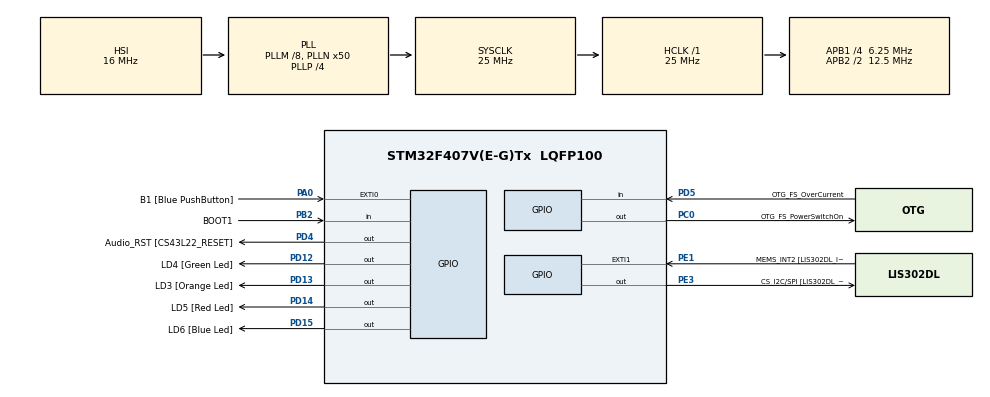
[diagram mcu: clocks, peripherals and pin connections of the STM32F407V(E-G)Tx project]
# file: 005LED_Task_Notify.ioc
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Mcu.Family=STM32F4
Mcu.Name=STM32F407V(E-G)Tx
Mcu.Package=LQFP100
NVIC.PriorityGroup=NVIC_PRIORITYGROUP_0
PA0-WKUP.GPIO_Label=B1 [Blue PushButton]
PA0-WKUP.Signal=GPXTI0
PA10.GPIO_Label=OTG_FS_ID
PA10.GPIO_Mode=GPIO_MODE_AF_PP
PA10.GPIO_PuPd=GPIO_NOPULL
PA10.GPIO_Speed=GPIO_SPEED_FREQ_LOW
PA10.Signal=USB_OTG_FS_ID
PA11.GPIO_Label=OTG_FS_DM
PA11.GPIO_Mode=GPIO_MODE_AF_PP
PA11.GPIO_PuPd=GPIO_NOPULL
PA11.GPIO_Speed=GPIO_SPEED_FREQ_LOW
PA11.Signal=USB_OTG_FS_DM
PA12.GPIO_Label=OTG_FS_DP
PA12.GPIO_Mode=GPIO_MODE_AF_PP
PA12.GPIO_PuPd=GPIO_NOPULL
PA12.GPIO_Speed=GPIO_SPEED_FREQ_LOW
PA12.Signal=USB_OTG_FS_DP
PA13.GPIO_Label=SWDIO
PA13.Signal=SYS_JTMS-SWDIO
PA14.GPIO_Label=SWCLK
PA14.Signal=SYS_JTCK-SWCLK
PA4.GPIO_Label=I2S3_WS [CS43L22_LRCK]
PA4.GPIO_Mode=GPIO_MODE_AF_PP
PA4.GPIO_PuPd=GPIO_NOPULL
PA4.GPIO_Speed=GPIO_SPEED_FREQ_LOW
PA4.Signal=I2S3_WS
PA5.GPIO_Label=SPI1_SCK [LIS302DL_SCL/SPC]
PA5.GPIO_Mode=GPIO_MODE_AF_PP
PA5.GPIO_PuPd=GPIO_NOPULL
PA5.GPIO_Speed=GPIO_SPEED_FREQ_LOW
PA5.Signal=SPI1_SCK
PA6.GPIO_Label=SPI1_MISO [LIS302DL_SDO]
PA6.GPIO_Mode=GPIO_MODE_AF_PP
PA6.GPIO_PuPd=GPIO_NOPULL
PA6.GPIO_Speed=GPIO_SPEED_FREQ_LOW
PA6.Signal=SPI1_MISO
PA7.GPIO_Label=SPI1_MOSI [LIS302DL_SDA/SDI/SDO]
PA7.GPIO_Mode=GPIO_MODE_AF_PP
PA7.GPIO_PuPd=GPIO_NOPULL
PA7.GPIO_Speed=GPIO_SPEED_FREQ_LOW
PA7.Signal=SPI1_MOSI
PA9.GPIO_Label=VBUS_FS
PA9.GPIO_Mode=GPIO_MODE_INPUT
PA9.GPIO_PuPd=GPIO_NOPULL
PA9.Signal=USB_OTG_FS_VBUS
PB10.GPIO_Label=CLK_IN [MP45DT02_CLK]
PB10.GPIO_Mode=GPIO_MODE_AF_PP
PB10.GPIO_PuPd=GPIO_NOPULL
PB10.GPIO_Speed=GPIO_SPEED_FREQ_LOW
PB10.Signal=I2S2_CK
PB2.GPIO_Label=BOOT1
PB2.GPIO_Mode=GPIO_MODE_INPUT
PB2.GPIO_PuPd=GPIO_NOPULL
PB2.Signal=GPIO_Input
PB3.GPIO_Label=SWO
PB3.Signal=SYS_JTDO-SWO
PB6.GPIO_Label=Audio_SCL [CS43L22_SCL]
PB6.GPIO_Mode=GPIO_MODE_AF_OD
PB6.GPIO_PuPd=GPIO_NOPULL
PB6.GPIO_Speed=GPIO_SPEED_FREQ_LOW
PB6.Signal=I2C1_SCL
PB9.GPIO_Label=Audio_SDA [CS43L22_SDA]
PB9.GPIO_Mode=GPIO_MODE_AF_OD
PB9.GPIO_PuPd=GPIO_NOPULL
PB9.GPIO_Speed=GPIO_SPEED_FREQ_LOW
PB9.Signal=I2C1_SDA
PC0.GPIO_Label=OTG_FS_PowerSwitchOn
PC0.GPIO_PuPd=GPIO_NOPULL
PC0.GPIO_Speed=GPIO_SPEED_FREQ_LOW
PC0.PinState=GPIO_PIN_SET
PC0.Signal=GPIO_Output
PC10.GPIO_Label=I2S3_SCK [CS43L22_SCLK]
PC10.GPIO_Mode=GPIO_MODE_AF_PP
PC10.GPIO_PuPd=GPIO_NOPULL
PC10.GPIO_Speed=GPIO_SPEED_FREQ_LOW
PC10.Signal=I2S3_CK
PC12.GPIO_Label=I2S3_SD [CS43L22_SDIN]
PC12.GPIO_Mode=GPIO_MODE_AF_PP
PC12.GPIO_PuPd=GPIO_NOPULL
PC12.GPIO_Speed=GPIO_SPEED_FREQ_LOW
PC12.Signal=I2S3_SD
PC14-OSC32_IN.GPIO_Label=PC14-OSC32_IN
PC14-OSC32_IN.Signal=RCC_OSC32_IN
PC15-OSC32_OUT.GPIO_Label=PC15-OSC32_OUT
PC15-OSC32_OUT.Signal=RCC_OSC32_OUT
PC3.GPIO_Label=PDM_OUT [MP45DT02_DOUT]
PC3.GPIO_Mode=GPIO_MODE_AF_PP
PC3.GPIO_PuPd=GPIO_NOPULL
PC3.GPIO_Speed=GPIO_SPEED_FREQ_LOW
PC3.Signal=I2S2_SD
PC7.GPIO_Label=I2S3_MCK [CS43L22_MCLK]
PC7.GPIO_Mode=GPIO_MODE_AF_PP
PC7.GPIO_PuPd=GPIO_NOPULL
PC7.GPIO_Speed=GPIO_SPEED_FREQ_LOW
PC7.Signal=I2S3_MCK
PD12.GPIO_Label=LD4 [Green Led]
PD12.GPIO_PuPd=GPIO_NOPULL
PD12.GPIO_Speed=GPIO_SPEED_FREQ_LOW
PD12.Signal=GPIO_Output
PD13.GPIO_Label=LD3 [Orange Led]
PD13.GPIO_PuPd=GPIO_NOPULL
PD13.GPIO_Speed=GPIO_SPEED_FREQ_LOW
PD13.Signal=GPIO_Output
PD14.GPIO_Label=LD5 [Red Led]
PD14.GPIO_PuPd=GPIO_NOPULL
PD14.GPIO_Speed=GPIO_SPEED_FREQ_LOW
PD14.Signal=GPIO_Output
PD15.GPIO_Label=LD6 [Blue Led]
PD15.GPIO_PuPd=GPIO_NOPULL
PD15.GPIO_Speed=GPIO_SPEED_FREQ_LOW
PD15.Signal=GPIO_Output
PD4.GPIO_Label=Audio_RST [CS43L22_RESET]
PD4.GPIO_PuPd=GPIO_NOPULL
PD4.GPIO_Speed=GPIO_SPEED_FREQ_LOW
PD4.Signal=GPIO_Output
PD5.GPIO_Label=OTG_FS_OverCurrent
PD5.GPIO_Mode=GPIO_MODE_INPUT
PD5.GPIO_PuPd=GPIO_NOPULL
PD5.Signal=GPIO_Input
PE1.GPIO_Label=MEMS_INT2 [LIS302DL_INT2]
PE1.GPIO_ModeDefaultEXTI=GPIO_MODE_EVT_RISING
PE1.GPIO_PuPd=GPIO_NOPULL
PE1.Signal=GPXTI1
PE3.GPIO_Label=CS_I2C/SPI [LIS302DL_CS_I2C/SPI]
PE3.GPIO_PuPd=GPIO_NOPULL
PE3.GPIO_Speed=GPIO_SPEED_FREQ_LOW
PE3.Signal=GPIO_Output
PH0-OSC_IN.GPIO_Label=PH0-OSC_IN
PH0-OSC_IN.Signal=RCC_OSC_IN
PH1-OSC_OUT.GPIO_Label=PH1-OSC_OUT
PH1-OSC_OUT.Signal=RCC_OSC_OUT
ProjectManager.HeapSize=0x200
ProjectManager.StackSize=0x400
ProjectManager.TargetToolchain=STM32CubeIDE
RCC.48MHZClocksFreq_Value=14285714.285714285
RCC.AHBFreq_Value=25000000
RCC.APB1CLKDivider=RCC_HCLK_DIV4
RCC.APB1Freq_Value=6250000
RCC.APB1TimFreq_Value=12500000
RCC.APB2CLKDivider=RCC_HCLK_DIV2
RCC.APB2Freq_Value=12500000
RCC.APB2TimFreq_Value=25000000
RCC.CortexFreq_Value=25000000
RCC.HCLKFreq_Value=25000000
RCC.HSE_VALUE=8000000
RCC.HSI_VALUE=16000000
RCC.LSE_VALUE=32768
RCC.PLLM=8
RCC.PLLN=50
RCC.PLLP=RCC_PLLP_DIV4
RCC.PLLQ=7
RCC.SYSCLKFreq_VALUE=25000000
RCC.SYSCLKSource=RCC_SYSCLKSOURCE_PLLCLK
RCC.VCOOutputFreq_Value=100000000
board=STM32F407G-DISC1

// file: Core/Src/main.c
/* USER CODE BEGIN Header */
/**
  ******************************************************************************
  * @file           : main.c
  * @brief          : Main program body
  ******************************************************************************
  * @attention
  *
  * Copyright (c) 2024 STMicroelectronics.
  * All rights reserved.
  *
  * This software is licensed under terms that can be found in the LICENSE file
  * in the root directory of this software component.
  * If no LICENSE file comes with this software, it is provided AS-IS.
  *
  ******************************************************************************
  */
/* USER CODE END Header */
#include "main.h"

/* USER CODE BEGIN Includes */
#include <stdio.h>
#include "FreeRTOS.h"
#include "task.h"
/* USER CODE END Includes */

void SystemClock_Config(void);
static void MX_GPIO_Init(void);
/* USER CODE BEGIN PFP */
static void led_green_handler(void * parameters);
static void led_orange_handler(void * parameters);
static void led_red_handler(void * parameters);
static void button_handler(void * parameters);

TaskHandle_t ledg_task_handle;
TaskHandle_t ledo_task_handle;
TaskHandle_t ledr_task_handle;
TaskHandle_t btn_task_handle;

TaskHandle_t volatile next_task_handle = NULL;
/* USER CODE END PFP */

int main(void)
{
  /* USER CODE BEGIN 1 */
	BaseType_t status;
  /* USER CODE END 1 */

  /* MCU Configuration--------------------------------------------------------*/

  /* Reset of all peripherals, Initializes the Flash interface and the Systick. */
  HAL_Init();

  /* Configure the system clock */
  SystemClock_Config();

  /* Initialize all configured peripherals */
  MX_GPIO_Init();
  /* USER CODE BEGIN 2 */
  status = xTaskCreate(led_green_handler, "LED_green_task", 200, NULL, 3, &ledg_task_handle);
  configASSERT(status == pdPASS);

  next_task_handle = ledg_task_handle;

  status = xTaskCreate(led_orange_handler, "LED_orange_task", 200, NULL, 2, &ledo_task_handle);
  configASSERT(status == pdPASS);

  status = xTaskCreate(led_red_handler, "LED_red_task", 200, NULL, 1, &ledr_task_handle);
  configASSERT(status == pdPASS);

  status = xTaskCreate(button_handler, "Button_task", 200, NULL, 4, &btn_task_handle);
  configASSERT(status == pdPASS);

  // start the FreeRTOS scheduler
  vTaskStartScheduler();
  /* USER CODE END 2 */

  /* Infinite loop */
  while (1)
  {

  }
}

void SystemClock_Config(void)
{
  RCC_OscInitTypeDef RCC_OscInitStruct = {0};
  RCC_ClkInitTypeDef RCC_ClkInitStruct = {0};

  /** Configure the main internal regulator output voltage
  */
  __HAL_RCC_PWR_CLK_ENABLE();
  __HAL_PWR_VOLTAGESCALING_CONFIG(PWR_REGULATOR_VOLTAGE_SCALE1);

  /** Initializes the RCC Oscillators according to the specified parameters
  * in the RCC_OscInitTypeDef structure.
  */
  RCC_OscInitStruct.OscillatorType = RCC_OSCILLATORTYPE_HSI;
  RCC_OscInitStruct.HSIState = RCC_HSI_ON;
  RCC_OscInitStruct.HSICalibrationValue = RCC_HSICALIBRATION_DEFAULT;
  RCC_OscInitStruct.PLL.PLLState = RCC_PLL_ON;
  RCC_OscInitStruct.PLL.PLLSource = RCC_PLLSOURCE_HSI;
  RCC_OscInitStruct.PLL.PLLM = 8;
  RCC_OscInitStruct.PLL.PLLN = 50;
  RCC_OscInitStruct.PLL.PLLP = RCC_PLLP_DIV4;
  RCC_OscInitStruct.PLL.PLLQ = 7;
  if (HAL_RCC_OscConfig(&RCC_OscInitStruct) != HAL_OK)
  {
    Error_Handler();
  }

  /** Initializes the CPU, AHB and APB buses clocks
  */
  RCC_ClkInitStruct.ClockType = RCC_CLOCKTYPE_HCLK|RCC_CLOCKTYPE_SYSCLK
                              |RCC_CLOCKTYPE_PCLK1|RCC_CLOCKTYPE_PCLK2;
  RCC_ClkInitStruct.SYSCLKSource = RCC_SYSCLKSOURCE_PLLCLK;
  RCC_ClkInitStruct.AHBCLKDivider = RCC_SYSCLK_DIV1;
  RCC_ClkInitStruct.APB1CLKDivider = RCC_HCLK_DIV4;
  RCC_ClkInitStruct.APB2CLKDivider = RCC_HCLK_DIV2;

  if (HAL_RCC_ClockConfig(&RCC_ClkInitStruct, FLASH_LATENCY_0) != HAL_OK)
  {
    Error_Handler();
  }
}

static void MX_GPIO_Init(void)
{
  GPIO_InitTypeDef GPIO_InitStruct = {0};

  /* GPIO Ports Clock Enable */
  __HAL_RCC_GPIOE_CLK_ENABLE();
  __HAL_RCC_GPIOC_CLK_ENABLE();
  __HAL_RCC_GPIOH_CLK_ENABLE();
  __HAL_RCC_GPIOA_CLK_ENABLE();
  __HAL_RCC_GPIOB_CLK_ENABLE();
  __HAL_RCC_GPIOD_CLK_ENABLE();

  /*Configure GPIO pin Output Level */
  HAL_GPIO_WritePin(CS_I2C_SPI_GPIO_Port, CS_I2C_SPI_Pin, GPIO_PIN_RESET);

  /*Configure GPIO pin Output Level */
  HAL_GPIO_WritePin(OTG_FS_PowerSwitchOn_GPIO_Port, OTG_FS_PowerSwitchOn_Pin, GPIO_PIN_SET);

  /*Configure GPIO pin Output Level */
  HAL_GPIO_WritePin(GPIOD, LD4_Pin|LD3_Pin|LD5_Pin|LD6_Pin
                          |Audio_RST_Pin, GPIO_PIN_RESET);

  /*Configure GPIO pin : CS_I2C_SPI_Pin */
  GPIO_InitStruct.Pin = CS_I2C_SPI_Pin;
  GPIO_InitStruct.Mode = GPIO_MODE_OUTPUT_PP;
  GPIO_InitStruct.Pull = GPIO_NOPULL;
  GPIO_InitStruct.Speed = GPIO_SPEED_FREQ_LOW;
  HAL_GPIO_Init(CS_I2C_SPI_GPIO_Port, &GPIO_InitStruct);

  /*Configure GPIO pin : OTG_FS_PowerSwitchOn_Pin */
  GPIO_InitStruct.Pin = OTG_FS_PowerSwitchOn_Pin;
  GPIO_InitStruct.Mode = GPIO_MODE_OUTPUT_PP;
  GPIO_InitStruct.Pull = GPIO_NOPULL;
  GPIO_InitStruct.Speed = GPIO_SPEED_FREQ_LOW;
  HAL_GPIO_Init(OTG_FS_PowerSwitchOn_GPIO_Port, &GPIO_InitStruct);

  /*Configure GPIO pin : PDM_OUT_Pin */
  GPIO_InitStruct.Pin = PDM_OUT_Pin;
  GPIO_InitStruct.Mode = GPIO_MODE_AF_PP;
  GPIO_InitStruct.Pull = GPIO_NOPULL;
  GPIO_InitStruct.Speed = GPIO_SPEED_FREQ_LOW;
  GPIO_InitStruct.Alternate = GPIO_AF5_SPI2;
  HAL_GPIO_Init(PDM_OUT_GPIO_Port, &GPIO_InitStruct);

  /*Configure GPIO pin : B1_Pin */
  GPIO_InitStruct.Pin = B1_Pin;
  GPIO_InitStruct.Mode = GPIO_MODE_IT_RISING;
  GPIO_InitStruct.Pull = GPIO_NOPULL;
  HAL_GPIO_Init(B1_GPIO_Port, &GPIO_InitStruct);

  /*Configure GPIO pin : I2S3_WS_Pin */
  GPIO_InitStruct.Pin = I2S3_WS_Pin;
  GPIO_InitStruct.Mode = GPIO_MODE_AF_PP;
  GPIO_InitStruct.Pull = GPIO_NOPULL;
  GPIO_InitStruct.Speed = GPIO_SPEED_FREQ_LOW;
  GPIO_InitStruct.Alternate = GPIO_AF6_SPI3;
  HAL_GPIO_Init(I2S3_WS_GPIO_Port, &GPIO_InitStruct);

  /*Configure GPIO pins : SPI1_SCK_Pin SPI1_MISO_Pin SPI1_MOSI_Pin */
  GPIO_InitStruct.Pin = SPI1_SCK_Pin|SPI1_MISO_Pin|SPI1_MOSI_Pin;
  GPIO_InitStruct.Mode = GPIO_MODE_AF_PP;
  GPIO_InitStruct.Pull = GPIO_NOPULL;
  GPIO_InitStruct.Speed = GPIO_SPEED_FREQ_LOW;
  GPIO_InitStruct.Alternate = GPIO_AF5_SPI1;
  HAL_GPIO_Init(GPIOA, &GPIO_InitStruct);

  /*Configure GPIO pin : BOOT1_Pin */
  GPIO_InitStruct.Pin = BOOT1_Pin;
  GPIO_InitStruct.Mode = GPIO_MODE_INPUT;
  GPIO_InitStruct.Pull = GPIO_NOPULL;
  HAL_GPIO_Init(BOOT1_GPIO_Port, &GPIO_InitStruct);

  /*Configure GPIO pin : CLK_IN_Pin */
  GPIO_InitStruct.Pin = CLK_IN_Pin;
  GPIO_InitStruct.Mode = GPIO_MODE_AF_PP;
  GPIO_InitStruct.Pull = GPIO_NOPULL;
  GPIO_InitStruct.Speed = GPIO_SPEED_FREQ_LOW;
  GPIO_InitStruct.Alternate = GPIO_AF5_SPI2;
  HAL_GPIO_Init(CLK_IN_GPIO_Port, &GPIO_InitStruct);

  /*Configure GPIO pins : LD4_Pin LD3_Pin LD5_Pin LD6_Pin
                           Audio_RST_Pin */
  GPIO_InitStruct.Pin = LD4_Pin|LD3_Pin|LD5_Pin|LD6_Pin
                          |Audio_RST_Pin;
  GPIO_InitStruct.Mode = GPIO_MODE_OUTPUT_PP;
  GPIO_InitStruct.Pull = GPIO_NOPULL;
  GPIO_InitStruct.Speed = GPIO_SPEED_FREQ_LOW;
  HAL_GPIO_Init(GPIOD, &GPIO_InitStruct);

  /*Configure GPIO pins : I2S3_MCK_Pin I2S3_SCK_Pin I2S3_SD_Pin */
  GPIO_InitStruct.Pin = I2S3_MCK_Pin|I2S3_SCK_Pin|I2S3_SD_Pin;
  GPIO_InitStruct.Mode = GPIO_MODE_AF_PP;
  GPIO_InitStruct.Pull = GPIO_NOPULL;
  GPIO_InitStruct.Speed = GPIO_SPEED_FREQ_LOW;
  GPIO_InitStruct.Alternate = GPIO_AF6_SPI3;
  HAL_GPIO_Init(GPIOC, &GPIO_InitStruct);

  /*Configure GPIO pin : VBUS_FS_Pin */
  GPIO_InitStruct.Pin = VBUS_FS_Pin;
  GPIO_InitStruct.Mode = GPIO_MODE_INPUT;
  GPIO_InitStruct.Pull = GPIO_NOPULL;
  HAL_GPIO_Init(VBUS_FS_GPIO_Port, &GPIO_InitStruct);

  /*Configure GPIO pins : OTG_FS_ID_Pin OTG_FS_DM_Pin OTG_FS_DP_Pin */
  GPIO_InitStruct.Pin = OTG_FS_ID_Pin|OTG_FS_DM_Pin|OTG_FS_DP_Pin;
  GPIO_InitStruct.Mode = GPIO_MODE_AF_PP;
  GPIO_InitStruct.Pull = GPIO_NOPULL;
  GPIO_InitStruct.Speed = GPIO_SPEED_FREQ_LOW;
  GPIO_InitStruct.Alternate = GPIO_AF10_OTG_FS;
  HAL_GPIO_Init(GPIOA, &GPIO_InitStruct);

  /*Configure GPIO pin : OTG_FS_OverCurrent_Pin */
  GPIO_InitStruct.Pin = OTG_FS_OverCurrent_Pin;
  GPIO_InitStruct.Mode = GPIO_MODE_INPUT;
  GPIO_InitStruct.Pull = GPIO_NOPULL;
  HAL_GPIO_Init(OTG_FS_OverCurrent_GPIO_Port, &GPIO_InitStruct);

  /*Configure GPIO pins : Audio_SCL_Pin Audio_SDA_Pin */
  GPIO_InitStruct.Pin = Audio_SCL_Pin|Audio_SDA_Pin;
  GPIO_InitStruct.Mode = GPIO_MODE_AF_OD;
  GPIO_InitStruct.Pull = GPIO_NOPULL;
  GPIO_InitStruct.Speed = GPIO_SPEED_FREQ_LOW;
  GPIO_InitStruct.Alternate = GPIO_AF4_I2C1;
  HAL_GPIO_Init(GPIOB, &GPIO_InitStruct);

  /*Configure GPIO pin : MEMS_INT2_Pin */
  GPIO_InitStruct.Pin = MEMS_INT2_Pin;
  GPIO_InitStruct.Mode = GPIO_MODE_EVT_RISING;
  GPIO_InitStruct.Pull = GPIO_NOPULL;
  HAL_GPIO_Init(MEMS_INT2_GPIO_Port, &GPIO_InitStruct);

}

/* USER CODE BEGIN 4 */
static void led_green_handler(void * parameters)
{
	BaseType_t status;
	while(1)
	{
		HAL_GPIO_TogglePin(GPIOD, LED_GREEN_PIN);
		// Wait for the notification
		status = xTaskNotifyWait(0, 0, NULL, pdMS_TO_TICKS(1000));

		if (status == pdTRUE)
		{
			vTaskSuspendAll();
			// The notification is received or the User has already pressed the button
			next_task_handle = ledo_task_handle; // update next_task_handle
			xTaskResumeAll();
			HAL_GPIO_WritePin(GPIOD, LED_GREEN_PIN, GPIO_PIN_SET); // before deleting task, keep the LED on
			vTaskDelete(NULL); // delete itself
		}
		else
		{

		}
	}
}

static void led_orange_handler(void * parameters)
{
	BaseType_t status;
	while(1)
	{
		HAL_GPIO_TogglePin(GPIOD, LED_ORANGE_PIN);
		// Wait for the notification
		status = xTaskNotifyWait(0, 0, NULL, pdMS_TO_TICKS(800));

		if (status == pdTRUE)
		{
			vTaskSuspendAll();
			// The notification is received or the User has already pressed the button
			next_task_handle = ledr_task_handle; // update next_task_handle
			xTaskResumeAll();
			HAL_GPIO_WritePin(GPIOD, LED_ORANGE_PIN, GPIO_PIN_SET); // before deleting task, keep the LED on
			vTaskDelete(NULL); // delete itself
		}
		else
		{

		}
	}
}

static void led_red_handler(void * parameters)
{
	BaseType_t status;
	while(1)
	{
		HAL_GPIO_TogglePin(GPIOD, LED_RED_PIN);
		// Wait for the notification
		status = xTaskNotifyWait(0, 0, NULL, pdMS_TO_TICKS(400));

		if (status == pdTRUE)
		{
			vTaskSuspendAll();
			// The notification is received or the User has already pressed the button
			next_task_handle = NULL; // update next_task_handle
			xTaskResumeAll();
			HAL_GPIO_WritePin(GPIOD, LED_RED_PIN, GPIO_PIN_SET); // before deleting task, keep the LED on
			vTaskDelete(btn_task_handle); // delete button task
			vTaskDelete(NULL); // delete itself
		}
		else
		{

		}
	}
}

static void button_handler(void *parameters)
{
	uint8_t btn_read = 0;
	uint8_t prev_read = 0;

	while(1)
	{
		btn_read = HAL_GPIO_ReadPin(GPIOA, GPIO_PIN_0);
		if (btn_read)
		{
			if (prev_read == 0) // if previous button read is zero (0)
			{
				xTaskNotify(next_task_handle, 0, eNoAction);
			}
		}
		prev_read = btn_read;
		vTaskDelay(pdMS_TO_TICKS(10));
	}
}

/* USER CODE END 4 */

void Error_Handler(void)
{
  __disable_irq();
  while (1)
  {
  }
}
